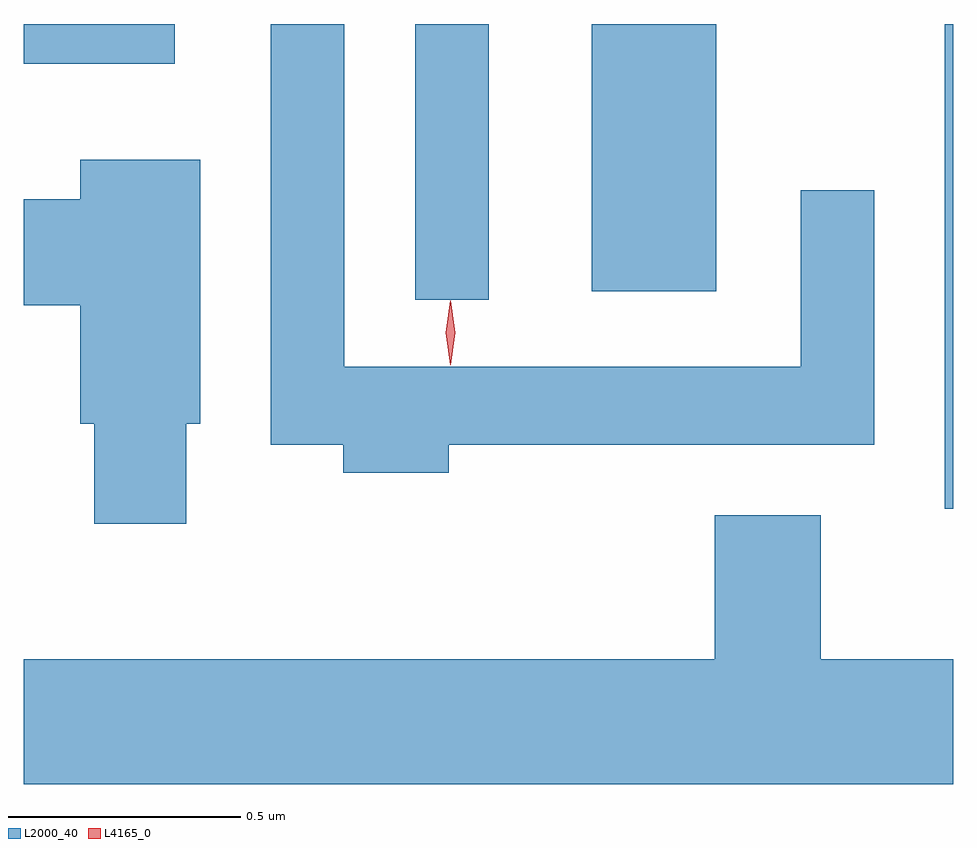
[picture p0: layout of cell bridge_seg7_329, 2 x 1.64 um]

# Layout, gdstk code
import gdstk
lib = gdstk.Library(unit=1e-6, precision=1e-09)
def R(c, l, rs):  # rectangles x0, y0, x1, y1
    for r in rs: c.add(gdstk.rectangle(r[:2], r[2:], *l))
def P(c, l, *ps):  # polygons
    for p in ps: c.add(gdstk.Polygon(p, *l))
L2000_40 = (2000, 40)
L4165_0 = (4165, 0)

bridge_seg7_329 = lib.new_cell('bridge_seg7_329')
R(bridge_seg7_329, L2000_40, [(1160.626,1743.768,1160.644,1744.811), (1159.486,1744.218,1159.644,1744.811), (1159.866,1744.236,1160.134,1744.811), (1158.644,1744.726,1158.969,1744.811)])
P(bridge_seg7_329, L2000_40, [(1159.559,1743.906),(1160.474,1743.906),(1160.474,1744.453),(1160.316,1744.453),(1160.316,1744.074),(1159.334,1744.074),(1159.334,1744.811),(1159.176,1744.811),(1159.176,1743.906),(1159.331,1743.906),(1159.331,1743.846),(1159.559,1743.846)],
  [(1158.994,1743.951),(1159.024,1743.951),(1159.024,1744.519),(1158.766,1744.519),(1158.766,1744.434),(1158.644,1744.434),(1158.644,1744.206),(1158.766,1744.206),(1158.766,1743.951),(1158.796,1743.951),(1158.796,1743.736),(1158.994,1743.736)],
  [(1160.644,1743.444),(1160.359,1743.444),(1160.359,1743.754),(1160.131,1743.754),(1160.131,1743.444),(1158.644,1743.444),(1158.644,1743.176),(1160.644,1743.176)])
P(bridge_seg7_329, L4165_0, [(1159.562,1744.077),(1159.562,1744.078),(1159.552,1744.147),(1159.562,1744.216),(1159.562,1744.216),(1159.563,1744.216),(1159.572,1744.147),(1159.563,1744.078)])

lib.write_gds('bridge_seg7_329.gds')
